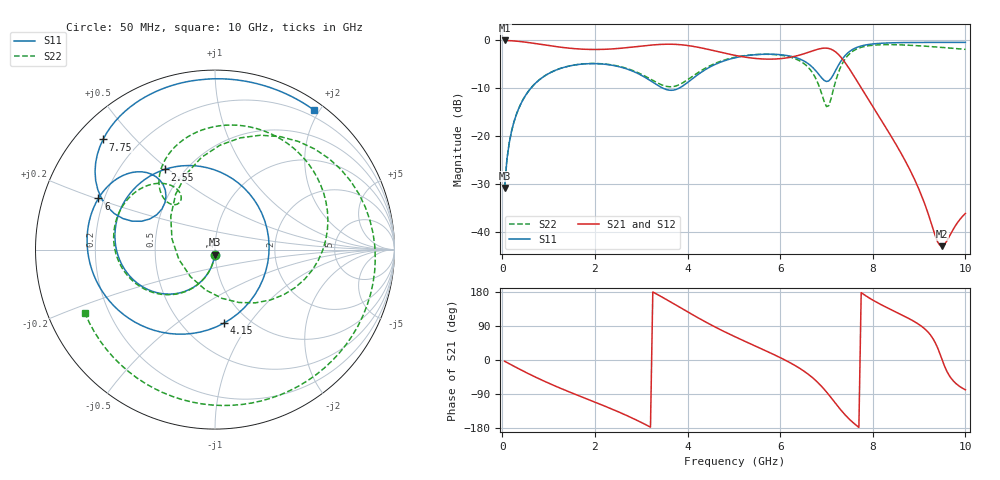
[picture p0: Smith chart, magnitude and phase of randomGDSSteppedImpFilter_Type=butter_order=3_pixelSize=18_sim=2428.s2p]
! freq	dB(S11)	phase(S11)	dB(S12)	phase(S12)
!  dB(S21)	phase(S21)	dB(S22)	phase(S22)
!S-par simulation data
#  GHz  S  DB  R 50
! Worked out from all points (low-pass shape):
!   200 points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, 50 MHz to 10 GHz, reference 50 ohm
!   highest |S21| = -0.01 dB at 50 MHz (marker M1); lowest = -43.0 dB at 9.5 GHz (marker M2)
!   |S21| within 3 dB of the highest: start of sweep to 4.965 GHz; 6.439 GHz to 7.265 GHz (825.6 MHz wide, 12 % of centre)
!   lowest |S11| = -30.8 dB at 50 MHz (marker M3), VSWR 1.06, Z = 49.7 - j2.86 ohm
!   |S11| at or under -10 dB: start of sweep to 615.5 MHz; 3.474 GHz to 3.811 GHz (337.2 MHz wide, 9.26 % of centre)
!   |S22| runs from -30.8 to -0.9 dB; largest |S21 - S12| = 0
!   S11 on the Smith chart (normalised r, x): 50 MHz: 0.99, -0.06; 2.55 GHz: 0.39, +0.49; 4.15 GHz: 0.77, -0.76; 6 GHz: 0.18, +0.20; 7.75 GHz: 0.08, +0.41; 10 GHz: 0.11, +1.94
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0.05  -30.82 -93.4  -0.01 -3.3  -0.01 -3.3  -30.82 -93.4
0.2  -18.96 -103.6  -0.08 -13.2  -0.08 -13.2  -18.96 -103.5
0.5  -11.52 -122.9  -0.36 -32.1  -0.36 -32.1  -11.52 -122.4
1.05  -6.67 -155.0  -1.14 -63.8  -1.14 -63.8  -6.66 -153.6
1.75  -4.92 168.1  -1.84 -99.1  -1.84 -99.1  -4.90 172.9
2.55  -5.56 122.1  -1.65 -139.1  -1.65 -139.1  -5.48 139.8
3.4  -9.63 37.7  -0.84 169.5  -0.84 169.5  -9.10 122.5
3.75  -10.25 -22.8  -0.83 145.0  -0.83 145.0  -9.51 131.6
4.15  -7.68 -83.2  -1.29 116.7  -1.29 116.7  -7.22 133.7
4.55  -5.23 -122.8  -2.11 90.0  -2.11 90.0  -5.00 120.6
5.05  -3.57 -157.0  -3.17 60.0  -3.17 60.0  -3.47 96.1
6  -2.98 156.3  -3.81 6.4  -3.81 6.4  -3.08 38.5
6.4  -3.80 139.1  -3.12 -20.3  -3.12 -20.3  -4.16 4.9
6.7  -5.63 129.0  -2.19 -46.7  -2.19 -46.7  -6.77 -33.2
7  -8.58 142.6  -1.61 -84.2  -1.61 -84.2  -13.82 -131.9
7.15  -7.14 159.0  -2.09 -107.2  -2.09 -107.2  -10.23 143.2
7.4  -3.20 155.8  -4.60 -144.4  -4.60 -144.4  -3.90 77.3
7.75  -1.16 135.5  -9.90 177.7  -9.90 177.7  -1.44 26.6
8.35  -0.52 108.6  -19.28 135.5  -19.28 135.5  -0.89 -28.1
8.95  -0.42 87.5  -30.05 97.6  -30.05 97.6  -1.09 -72.8
9.5  -0.41 69.9  -42.98 -0.4  -42.98 -0.4  -1.47 -113.7
10  -0.42 54.5  -36.13 -78.7  -36.13 -78.7  -1.87 -154.2
